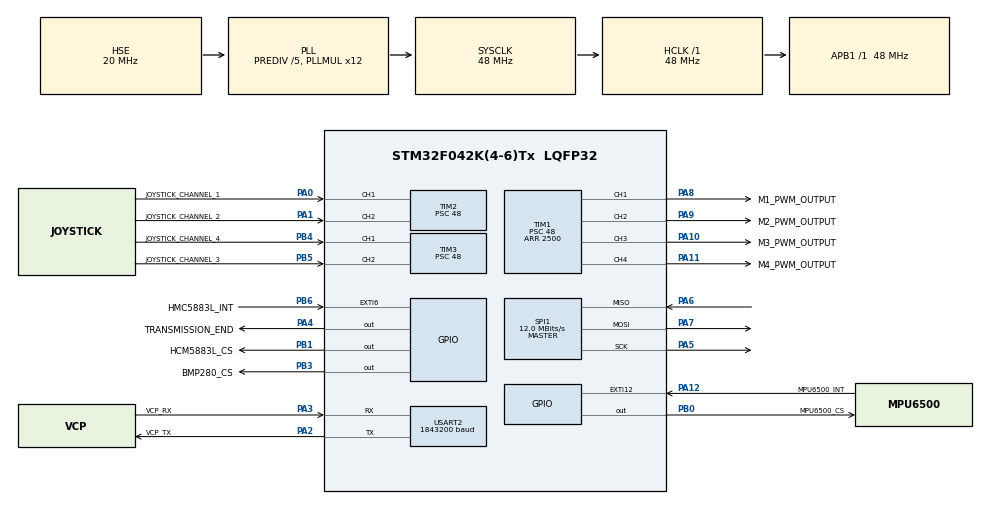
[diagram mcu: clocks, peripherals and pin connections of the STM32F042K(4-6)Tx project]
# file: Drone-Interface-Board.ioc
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Dma.Request0=USART2_TX
Dma.Request1=USART2_RX
Dma.Request2=SPI1_RX
Dma.SPI1_RX.2.Direction=DMA_PERIPH_TO_MEMORY
Dma.SPI1_RX.2.Instance=DMA1_Channel2
Dma.SPI1_RX.2.MemDataAlignment=DMA_MDATAALIGN_BYTE
Dma.SPI1_RX.2.MemInc=DMA_MINC_ENABLE
Dma.SPI1_RX.2.Mode=DMA_NORMAL
Dma.SPI1_RX.2.PeriphDataAlignment=DMA_PDATAALIGN_BYTE
Dma.SPI1_RX.2.PeriphInc=DMA_PINC_DISABLE
Dma.SPI1_RX.2.Priority=DMA_PRIORITY_VERY_HIGH
Dma.USART2_RX.1.Direction=DMA_PERIPH_TO_MEMORY
Dma.USART2_RX.1.Instance=DMA1_Channel5
Dma.USART2_RX.1.MemDataAlignment=DMA_MDATAALIGN_BYTE
Dma.USART2_RX.1.MemInc=DMA_MINC_ENABLE
Dma.USART2_RX.1.Mode=DMA_CIRCULAR
Dma.USART2_RX.1.PeriphDataAlignment=DMA_PDATAALIGN_BYTE
Dma.USART2_RX.1.PeriphInc=DMA_PINC_DISABLE
Dma.USART2_RX.1.Priority=DMA_PRIORITY_HIGH
Dma.USART2_TX.0.Direction=DMA_MEMORY_TO_PERIPH
Dma.USART2_TX.0.Instance=DMA1_Channel4
Dma.USART2_TX.0.MemDataAlignment=DMA_MDATAALIGN_BYTE
Dma.USART2_TX.0.MemInc=DMA_MINC_ENABLE
Dma.USART2_TX.0.Mode=DMA_NORMAL
Dma.USART2_TX.0.PeriphDataAlignment=DMA_PDATAALIGN_BYTE
Dma.USART2_TX.0.PeriphInc=DMA_PINC_DISABLE
Dma.USART2_TX.0.Priority=DMA_PRIORITY_MEDIUM
Mcu.Family=STM32F0
Mcu.Name=STM32F042K(4-6)Tx
Mcu.Package=LQFP32
NVIC.DMA1_Channel2_3_IRQn=true\:0\:0\:true\:false\:true\:false
NVIC.DMA1_Channel4_5_IRQn=true\:1\:0\:true\:false\:true\:false
NVIC.EXTI4_15_IRQn=true\:1\:0\:true\:false\:true\:true
NVIC.TIM14_IRQn=true\:2\:0\:true\:false\:true\:true
NVIC.TIM2_IRQn=true\:3\:0\:true\:false\:true\:true
NVIC.TIM3_IRQn=true\:3\:0\:true\:false\:true\:true
NVIC.USART2_IRQn=true\:1\:0\:true\:false\:true\:true
PA0.GPIO_Label=JOYSTICK_CHANNEL_1
PA0.Signal=S_TIM2_CH1_ETR
PA1.GPIO_Label=JOYSTICK_CHANNEL_2
PA1.Signal=S_TIM2_CH2
PA10.GPIO_Label=M3_PWM_OUTPUT
PA10.Signal=S_TIM1_CH3
PA11.GPIO_Label=M4_PWM_OUTPUT
PA11.Signal=S_TIM1_CH4
PA12.GPIO_Label=MPU6500_INT
PA12.Signal=GPXTI12
PA13.GPIO_Label=SWDIO
PA13.Mode=Serial_Wire
PA13.Signal=SYS_SWDIO
PA14.GPIO_Label=SWCLK
PA14.Mode=Serial_Wire
PA14.Signal=SYS_SWCLK
PA2.GPIO_Label=VCP_TX
PA2.Mode=Asynchronous
PA2.Signal=USART2_TX
PA3.GPIO_Label=VCP_RX
PA3.Mode=Asynchronous
PA3.Signal=USART2_RX
PA4.GPIO_Label=TRANSMISSION_END
PA4.GPIO_Speed=GPIO_SPEED_FREQ_MEDIUM
PA4.PinState=GPIO_PIN_SET
PA4.Signal=GPIO_Output
PA5.Mode=Full_Duplex_Master
PA5.Signal=SPI1_SCK
PA6.Mode=Full_Duplex_Master
PA6.Signal=SPI1_MISO
PA7.Mode=Full_Duplex_Master
PA7.Signal=SPI1_MOSI
PA8.GPIO_Label=M1_PWM_OUTPUT
PA8.Signal=S_TIM1_CH1
PA9.GPIO_Label=M2_PWM_OUTPUT
PA9.Signal=S_TIM1_CH2
PB0.GPIO_Label=MPU6500_CS
PB0.GPIO_ModeDefaultOutputPP=GPIO_MODE_OUTPUT_OD
PB0.GPIO_PuPd=GPIO_PULLUP
PB0.GPIO_Speed=GPIO_SPEED_FREQ_HIGH
PB0.PinState=GPIO_PIN_SET
PB0.Signal=GPIO_Output
PB1.GPIO_Label=HCM5883L_CS
PB1.GPIO_ModeDefaultOutputPP=GPIO_MODE_OUTPUT_OD
PB1.GPIO_PuPd=GPIO_PULLUP
PB1.GPIO_Speed=GPIO_SPEED_FREQ_HIGH
PB1.PinState=GPIO_PIN_SET
PB1.Signal=GPIO_Output
PB3.GPIO_Label=BMP280_CS
PB3.GPIO_ModeDefaultOutputPP=GPIO_MODE_OUTPUT_OD
PB3.GPIO_PuPd=GPIO_PULLUP
PB3.GPIO_Speed=GPIO_SPEED_FREQ_HIGH
PB3.PinState=GPIO_PIN_SET
PB3.Signal=GPIO_Output
PB4.GPIO_Label=JOYSTICK_CHANNEL_4
PB4.Signal=S_TIM3_CH1
PB5.GPIO_Label=JOYSTICK_CHANNEL_3
PB5.Signal=S_TIM3_CH2
PB6.GPIO_Label=HMC5883L_INT
PB6.Signal=GPXTI6
PF0-OSC_IN.GPIO_Label=MCO
PF0-OSC_IN.Mode=HSE-External-Oscillator
PF0-OSC_IN.Signal=RCC_OSC_IN
PF1-OSC_OUT.Mode=HSE-External-Oscillator
PF1-OSC_OUT.Signal=RCC_OSC_OUT
ProjectManager.HeapSize=0x200
ProjectManager.StackSize=0x400
ProjectManager.TargetToolchain=SW4STM32
RCC.AHBFreq_Value=48000000
RCC.APB1Freq_Value=48000000
RCC.APB1TimFreq_Value=48000000
RCC.HCLKFreq_Value=48000000
RCC.HSE_VALUE=20000000
RCC.PLLDivider=RCC_PREDIV_DIV5
RCC.PLLMUL=RCC_PLL_MUL12
RCC.PLLSourceVirtual=RCC_PLLSOURCE_HSE
RCC.SYSCLKFreq_VALUE=48000000
RCC.SYSCLKSource=RCC_SYSCLKSOURCE_PLLCLK
SH.S_TIM1_CH1.0=TIM1_CH1,PWM Generation1 CH1
SH.S_TIM1_CH2.0=TIM1_CH2,PWM Generation2 CH2
SH.S_TIM1_CH3.0=TIM1_CH3,PWM Generation3 CH3
SH.S_TIM1_CH4.0=TIM1_CH4,PWM Generation4 CH4
SH.S_TIM2_CH1_ETR.0=TIM2_CH1,Input_Capture1_from_TI1
SH.S_TIM2_CH2.0=TIM2_CH2,Input_Capture2_from_TI2
SH.S_TIM3_CH1.0=TIM3_CH1,Input_Capture1_from_TI1
SH.S_TIM3_CH2.0=TIM3_CH2,Input_Capture2_from_TI2
SPI1.BaudRatePrescaler=SPI_BAUDRATEPRESCALER_4
SPI1.CalculateBaudRate=12.0 MBits/s
SPI1.DataSize=SPI_DATASIZE_8BIT
SPI1.Direction=SPI_DIRECTION_2LINES
SPI1.Mode=SPI_MODE_MASTER
SPI1.VirtualType=VM_MASTER
TIM1.Channel-PWM\ Generation1\ CH1=TIM_CHANNEL_1
TIM1.Channel-PWM\ Generation2\ CH2=TIM_CHANNEL_2
TIM1.Channel-PWM\ Generation3\ CH3=TIM_CHANNEL_3
TIM1.Channel-PWM\ Generation4\ CH4=TIM_CHANNEL_4
TIM1.Period=2500
TIM1.Prescaler=48
TIM1.Pulse-PWM\ Generation1\ CH1=1500
TIM1.Pulse-PWM\ Generation2\ CH2=1500
TIM1.Pulse-PWM\ Generation3\ CH3=1500
TIM1.Pulse-PWM\ Generation4\ CH4=1500
TIM14.Period=90
TIM14.Prescaler=48
TIM2.Channel-Input_Capture1_from_TI1=TIM_CHANNEL_1
TIM2.Channel-Input_Capture2_from_TI2=TIM_CHANNEL_2
TIM2.ICPolarity_CH1=TIM_INPUTCHANNELPOLARITY_BOTHEDGE
TIM2.ICPolarity_CH2=TIM_INPUTCHANNELPOLARITY_BOTHEDGE
TIM2.Period=65535
TIM2.Prescaler=48
TIM3.Channel-Input_Capture1_from_TI1=TIM_CHANNEL_1
TIM3.Channel-Input_Capture2_from_TI2=TIM_CHANNEL_2
TIM3.ICPolarity_CH1=TIM_INPUTCHANNELPOLARITY_BOTHEDGE
TIM3.ICPolarity_CH2=TIM_INPUTCHANNELPOLARITY_BOTHEDGE
TIM3.Period=65535
TIM3.Prescaler=48
USART2.BaudRate=1843200
USART2.StopBits=STOPBITS_1_5
USART2.VirtualMode-Asynchronous=VM_ASYNC
VP_TIM14_VS_ClockSourceINT.Mode=Enable_Timer
VP_TIM2_VS_ClockSourceINT.Mode=Internal
VP_TIM3_VS_ClockSourceINT.Mode=Internal
board=NUCLEO-F042K6

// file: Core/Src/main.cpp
/* USER CODE BEGIN Header */
/* USER CODE END Header */

#include "main.h"
#include "dma.h"
#include "spi.h"
#include "tim.h"
#include "usart.h"
#include "gpio.h"

/* USER CODE BEGIN Includes */
#include "MPU6500/MPU6500.h"
#include "HMC5983/HMC5983.h"

#include "USARTInterface.h"
#include "USARTMessageDecoder.h"

#include "mpu6500.pb.h"
#include "hmc5983.pb.h"
#include "JoystickReadings.pb.h"
#include "motorsinterface.pb.h"

#include "pb_common.h"
#include "pb_encode.h"
#include "pb_decode.h"
/* USER CODE END Includes */

/* USER CODE BEGIN PV */

Sensors::MPU6500 *m_mpu6500 = nullptr;
Sensors::HMC5983 *m_hmc5983 = nullptr;
Comm::USARTInterface<150, 150> *m_interface = nullptr;
Comm::USARTMessageDecoder *m_decoder = nullptr;

uint8_t mpuPrescalerSender = 0x00;
uint8_t magPrescalerSender = 0x00;
uint8_t joystickPrescalerSender = 0x00;

uint8_t gyroBuffer[120];
pb_ostream_t mpuStream = pb_ostream_from_buffer(gyroBuffer, 120);
MPU6500Readings mpu6500message = MPU6500Readings_init_zero;
Sensors::ThreeAxisReadingsStamped<float> accel;
Sensors::ThreeAxisReadingsStamped<float> gyro;
Sensors::SingleValueReadingStamped< float > mpuTemperature;

uint8_t magBuffer[120];
pb_ostream_t magStream = pb_ostream_from_buffer(magBuffer, 120);
HMC5983Readings hmc5983message = HMC5983Readings_init_zero;
Sensors::ThreeAxisReadingsStamped<float> mag;
Sensors::SingleValueReadingStamped< float > magTemperature;

uint8_t josystickBuffer[50];
pb_ostream_t joystickStream = pb_ostream_from_buffer( josystickBuffer, 50 );
JoystickReadings joystickMessage = JoystickReadings_init_zero;

uint8_t motorInputBuffer[50];
pb_istream_t motorInterface = pb_istream_from_buffer( motorInputBuffer, 50 );
MotorsInterfaceMessage motorsInterfaceMessage = MotorsInterfaceMessage_init_zero;

void motorMessageCallback( float m1, float m2, float m3, float m4 );
/* USER CODE END PV */

void SystemClock_Config(void);
/* USER CODE BEGIN PFP */
void HAL_GPIO_EXTI_Callback(uint16_t GPIO_Pin);
void HAL_TIM_PeriodElapsedCallback(TIM_HandleTypeDef *htim);
void HAL_UART_RxCpltCallback(UART_HandleTypeDef *huart);
void HAL_UART_RxHalfCpltCallback(UART_HandleTypeDef *huart);
void HAL_UART_TxCpltCallback(UART_HandleTypeDef *huart);
void HAL_TIM_IC_CaptureCallback(TIM_HandleTypeDef *htim);

/* USER CODE END PFP */

int main(void)
{

  /* MCU Configuration--------------------------------------------------------*/

  /* Reset of all peripherals, Initializes the Flash interface and the Systick. */
  HAL_Init();

  /* Configure the system clock */
  SystemClock_Config();

  /* Initialize all configured peripherals */
  MX_GPIO_Init();
  MX_DMA_Init();
  MX_SPI1_Init();
  MX_USART2_UART_Init();
  MX_TIM3_Init();
  MX_TIM1_Init();
  MX_TIM2_Init();
  MX_TIM14_Init();
  /* USER CODE BEGIN 2 */

  HAL_GPIO_WritePin(HCM5883L_CS_GPIO_Port, HCM5883L_CS_Pin, GPIO_PIN_SET );
  HAL_GPIO_WritePin(MPU6500_CS_GPIO_Port, MPU6500_CS_Pin, GPIO_PIN_SET );
  HAL_GPIO_WritePin(BMP280_CS_GPIO_Port, BMP280_CS_Pin, GPIO_PIN_SET );

  HAL_Delay( 10 );

  m_mpu6500 = new Sensors::MPU6500( hspi1,  MPU6500_CS_GPIO_Port, MPU6500_CS_Pin );
  m_hmc5983 = new Sensors::HMC5983( hspi1, HCM5883L_CS_GPIO_Port, HCM5883L_CS_Pin );

  m_interface = new Comm::USARTInterface<150, 150>( &huart2 );
  m_decoder = new Comm::USARTMessageDecoder();

  //Adicionado os callbacks ao decoder
  m_decoder->setMotorMessageCallback( &motorMessageCallback );

  m_mpu6500->startReading();
  hspi1.Init.BaudRatePrescaler = SPI_BAUDRATEPRESCALER_4;
  if (HAL_SPI_Init(&hspi1) != HAL_OK) {
    Error_Handler();
  }

  /* USER CODE END 2 */

  /* Infinite loop */
  /* USER CODE BEGIN WHILE */

  HAL_TIM_PWM_Start( &htim1, TIM_CHANNEL_1 );
  HAL_TIM_PWM_Start( &htim1, TIM_CHANNEL_2 );
  HAL_TIM_PWM_Start( &htim1, TIM_CHANNEL_3 );
  HAL_TIM_PWM_Start( &htim1, TIM_CHANNEL_4 );

  HAL_TIM_Base_Start( &htim1 );
  HAL_TIM_Base_Start_IT( &htim14 );

  HAL_TIM_IC_Start_IT( &htim2, TIM_CHANNEL_1 );
  HAL_TIM_IC_Start_IT( &htim2, TIM_CHANNEL_2 );

  HAL_TIM_IC_Start_IT( &htim3, TIM_CHANNEL_1 );
  HAL_TIM_IC_Start_IT( &htim3, TIM_CHANNEL_2 );

  while(true) {
	  //Motores devem permanecer desligados
		if( joystickMessage.channel3Reading > 1850 ) {
			htim1.Instance->CCR1 = round( 1500 );
			htim1.Instance->CCR2 = round( 1500 );
			htim1.Instance->CCR3 = round( 1500 );
			htim1.Instance->CCR4 = round( 1500 );
		}

		HAL_Delay( 50 );
  }
    /* USER CODE END WHILE */

}

void SystemClock_Config(void)
{
  RCC_OscInitTypeDef RCC_OscInitStruct = {0};
  RCC_ClkInitTypeDef RCC_ClkInitStruct = {0};

  /**Initializes the CPU, AHB and APB busses clocks
  */
  RCC_OscInitStruct.OscillatorType = RCC_OSCILLATORTYPE_HSE;
  RCC_OscInitStruct.HSEState = RCC_HSE_ON;
  RCC_OscInitStruct.PLL.PLLState = RCC_PLL_ON;
  RCC_OscInitStruct.PLL.PLLSource = RCC_PLLSOURCE_HSE;
  RCC_OscInitStruct.PLL.PLLMUL = RCC_PLL_MUL12;
  RCC_OscInitStruct.PLL.PREDIV = RCC_PREDIV_DIV5;
  if (HAL_RCC_OscConfig(&RCC_OscInitStruct) != HAL_OK)
  {
    Error_Handler();
  }
  /**Initializes the CPU, AHB and APB busses clocks
  */
  RCC_ClkInitStruct.ClockType = RCC_CLOCKTYPE_HCLK|RCC_CLOCKTYPE_SYSCLK
                              |RCC_CLOCKTYPE_PCLK1;
  RCC_ClkInitStruct.SYSCLKSource = RCC_SYSCLKSOURCE_PLLCLK;
  RCC_ClkInitStruct.AHBCLKDivider = RCC_SYSCLK_DIV1;
  RCC_ClkInitStruct.APB1CLKDivider = RCC_HCLK_DIV1;

  if (HAL_RCC_ClockConfig(&RCC_ClkInitStruct, FLASH_LATENCY_1) != HAL_OK)
  {
    Error_Handler();
  }
}

/* USER CODE BEGIN 4 */

void motorMessageCallback( float m1, float m2, float m3, float m4 ) {
	if( m1 > 100.0 ) {
		m1 = 100.0;
	}else if( m1 < 0.0 ) {
		m1 = 0.0;
	}

	if( m2 > 100.0 ) {
		m2 = 100.0;
	}else if( m2 < 0.0 ) {
		m2 = 0.0;
	}

	if( m3 > 100.0 ) {
		m3 = 100.0;
	}else if( m3 < 0.0 ) {
		m3 = 0.0;
	}

	if( m4 > 100.0 ) {
		m4 = 100.0;
	}else if( m4 < 0.0 ) {
		m4 = 0.0;
	}

	static constexpr float a = 5.0;
	static constexpr float b = 1500.0;

	//Os valores estão entre zero até 100, convertendo em período para o DC

	if( joystickMessage.channel3Reading < 1850 ) {
		htim1.Instance->CCR1 = round(m1*a + b);
		htim1.Instance->CCR2 = round(m2*a + b);
		htim1.Instance->CCR3 = round(m3*a + b);
		htim1.Instance->CCR4 = round(m4*a + b);
	}else {
		htim1.Instance->CCR1 = round(b);
		htim1.Instance->CCR2 = round(b);
		htim1.Instance->CCR3 = round(b);
		htim1.Instance->CCR4 = round(b);
	}

}

void HAL_TIM_PeriodElapsedCallback(TIM_HandleTypeDef *htim) {
	if( htim == &htim14 ) {

		if( m_interface == nullptr ) {
			return;
		}

		++mpuPrescalerSender;
		++magPrescalerSender;
		++joystickPrescalerSender;

		if( mpuPrescalerSender == 2 ) {
			size_t message_length = 0x00;

			mpuPrescalerSender = 0x00;

			accel = m_mpu6500->getAccel();
			gyro = m_mpu6500->getGyro();
			mpuTemperature = m_mpu6500->getTemp();

			mpu6500message.accelerometer.x = accel.x();
			mpu6500message.accelerometer.y = accel.y();
			mpu6500message.accelerometer.z = accel.z();
			mpu6500message.gyroscope.x = gyro.x();
			mpu6500message.gyroscope.y = gyro.y();
			mpu6500message.gyroscope.z = gyro.z();
			mpu6500message.temperature = mpuTemperature.value();
			mpu6500message.timestamp = gyro.timeStamp();

			message_length = 0;
			mpuStream = pb_ostream_from_buffer(gyroBuffer+4, 120);
			pb_encode(&mpuStream, MPU6500Readings_fields, &mpu6500message);
			message_length = mpuStream.bytes_written;

			gyroBuffer[ 0 ] = 0xAA;
			gyroBuffer[ 1 ] = 0xBB;
			gyroBuffer[ 2 ] = 0xCC;
			gyroBuffer[ 3 ] = 0x01;	//Mensagem de mpu
			message_length += 4;

			gyroBuffer[ message_length++ ] = '*';
			gyroBuffer[ message_length++ ] = 'F';
			gyroBuffer[ message_length++ ] = 'I';
			gyroBuffer[ message_length++ ] = 'M';
			gyroBuffer[ message_length++ ] = '\0';

			m_interface->appendDataToSend( gyroBuffer, message_length );

			return;
		}

		if( magPrescalerSender >= 5 ) {
			size_t message_length = 0x00;
			magPrescalerSender = 0x00;

			mag = m_hmc5983->getMag();
			magTemperature = m_hmc5983->getTemp();

			hmc5983message.magnetometer.x = mag.x();
			hmc5983message.magnetometer.y = mag.y();
			hmc5983message.magnetometer.z = mag.z();
			hmc5983message.timestamp = mag.timeStamp();
			hmc5983message.temperature = magTemperature.value();

			message_length = 0;
			magStream = pb_ostream_from_buffer(magBuffer+4, 120);
			pb_encode(&magStream, HMC5983Readings_fields, &hmc5983message );
			message_length = magStream.bytes_written;

			magBuffer[ 0 ] = 0xAA;
			magBuffer[ 1 ] = 0xBB;
			magBuffer[ 2 ] = 0xCC;
			magBuffer[ 3 ] = 0x02;
			message_length += 4;

			magBuffer[ message_length++ ] = '*';
			magBuffer[ message_length++ ] = 'F';
			magBuffer[ message_length++ ] = 'I';
			magBuffer[ message_length++ ] = 'M';
			magBuffer[ message_length++ ] = '\0';

			m_interface->appendDataToSend( magBuffer, message_length );

			return;
		}

		if( joystickPrescalerSender >= 20 ) {

			joystickPrescalerSender = 0;

			size_t message_length = 0x00;
			joystickStream = pb_ostream_from_buffer( josystickBuffer+4, 50 );
			pb_encode( &joystickStream, JoystickReadings_fields, &joystickMessage );
			message_length = joystickStream.bytes_written;

			josystickBuffer[ 0 ] = 0xAA;
			josystickBuffer[ 1 ] = 0xBB;
			josystickBuffer[ 2 ] = 0xCC;
			josystickBuffer[ 3 ] = 0x03;
			message_length += 4;

			josystickBuffer[ message_length++ ] = '*';
			josystickBuffer[ message_length++ ] = 'F';
			josystickBuffer[ message_length++ ] = 'I';
			josystickBuffer[ message_length++ ] = 'M';
			josystickBuffer[ message_length++ ] = '\0';

			m_interface->appendDataToSend( josystickBuffer, message_length );

			return;
		}

	}
}

void HAL_GPIO_EXTI_Callback(uint16_t GPIO_Pin) {
	if( GPIO_Pin == MPU6500_INT_Pin ) {
		if( m_mpu6500 != nullptr ) {

			hspi1.Init.BaudRatePrescaler = SPI_BAUDRATEPRESCALER_4;
			if (HAL_SPI_Init(&hspi1) != HAL_OK) {
				Error_Handler();
			}

			m_mpu6500->intCallback();
		}
	}else if( GPIO_Pin == HMC5883L_INT_Pin ) {
		if( m_hmc5983 != nullptr ) {

			hspi1.Init.BaudRatePrescaler = SPI_BAUDRATEPRESCALER_8;
			if (HAL_SPI_Init(&hspi1) != HAL_OK) {
				Error_Handler();
			}

			m_hmc5983->intCallback();
		}
	}
}

void HAL_UART_TxCpltCallback(UART_HandleTypeDef *huart) {
	if( m_interface != nullptr ) {
		m_interface->txCallback();
	}
}

void HAL_UART_RxCpltCallback(UART_HandleTypeDef *huart) {
	if( m_interface != nullptr ) {
		m_interface->rxCallback();

		//Not optimal, but will decode right here
		uint8_t data[100];
		size_t size = 0;

		m_interface->getReceivedData( data, size, 100 );
		m_decoder->appendDataToDecode( data, size );
	}
}

void HAL_UART_RxHalfCpltCallback(UART_HandleTypeDef *huart) {
//	if( m_interface != nullptr ) {
//		m_interface->rxCallback();
//	}
}

void HAL_TIM_IC_CaptureCallback(TIM_HandleTypeDef *htim) {
	static bool joyStickState[4] = { false, false, false, false };
	static uint16_t joyValues[4] = { 0x0000, 0x0000, 0x0000, 0x0000 };
	volatile static uint16_t periods[4] = { 0x0000, 0x0000, 0x0000, 0x0000 };

	uint8_t channel = 0xFF;
	uint16_t value;

	if( htim == &htim2 ) {
		if( htim->Channel == HAL_TIM_ACTIVE_CHANNEL_1 ) {
			channel = 0x01;
			value = htim->Instance->CCR1;
		}else if( htim->Channel == HAL_TIM_ACTIVE_CHANNEL_2 ) {
			channel = 0x02;
			value = htim->Instance->CCR2;
		}
	}else if( htim == &htim3 ) {
		if( htim->Channel == HAL_TIM_ACTIVE_CHANNEL_1 ) {
			channel = 0x03;
			value = htim->Instance->CCR1;
		}else if( htim->Channel == HAL_TIM_ACTIVE_CHANNEL_2 ){
			channel = 0x04;
			value = htim->Instance->CCR2;
		}
	}

	for( int i = 0; i < 0x04; ++i ) {
		if( i == ( channel - 1 ) ) {

			if( joyStickState[i] ) {
				if( value > joyValues[i] ) {
					periods[i] = value - joyValues[i];
				}else {
					periods[i] = value - joyValues[i] + 65536;
				}

				joyStickState[i] = false;
				joyValues[i] = 0x0000;

			}else {
				joyStickState[i] = true;
				joyValues[i] = value;
			}

		}else {
			joyStickState[i] = false;
			joyValues[i] = 0x0000;
		}
	}

	joystickMessage.channel1Reading = periods[0];
	joystickMessage.channel2Reading = periods[1];
	joystickMessage.channel3Reading = periods[2];
	joystickMessage.channel4Reading = periods[3];
}

/* USER CODE END 4 */

void Error_Handler(void)
{
}

/************************ (C) COPYRIGHT STMicroelectronics *****END OF FILE****/
